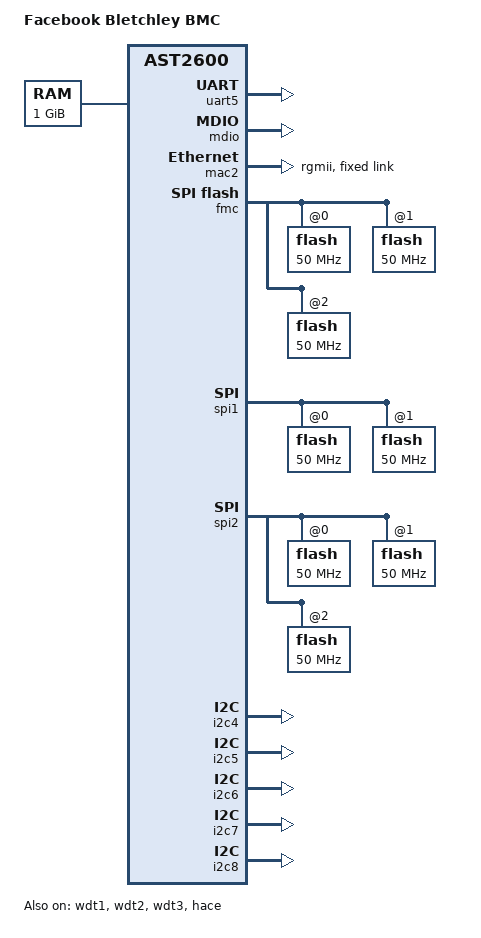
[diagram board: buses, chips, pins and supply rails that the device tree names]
// SPDX-License-Identifier: GPL-2.0+
// Copyright (c) 2022 Meta Platforms Inc.
/dts-v1/;

#include "ast2600-u-boot.dtsi"

/ {
	model = "Facebook Bletchley BMC";
	compatible = "facebook,bletchley-bmc", "aspeed,ast2600";

	memory {
		device_type = "memory";
		reg = <0x80000000 0x40000000>;
	};

	chosen {
		stdout-path = &uart5;
	};

	aliases {
		mmc0 = &emmc_slot0;
		mmc1 = &sdhci_slot0;
		mmc2 = &sdhci_slot1;
		spi0 = &fmc;
		spi1 = &spi1;
		spi2 = &spi2;
		ethernet0 = &mac0;
		ethernet1 = &mac1;
		ethernet2 = &mac2;
		ethernet3 = &mac3;
	};

	cpus {
		cpu@0 {
			clock-frequency = <800000000>;
		};
		cpu@1 {
			clock-frequency = <800000000>;
		};
	};
};

&uart5 {
	u-boot,dm-pre-reloc;
	status = "okay";
};

&sdrammc {
	clock-frequency = <400000000>;
};

&wdt1 {
	status = "okay";
};

&wdt2 {
	status = "okay";
};

&wdt3 {
	status = "okay";
};

&mdio {
	status = "okay";
	pinctrl-names = "default";
	pinctrl-0 = <&pinctrl_mdio4_default>;
	#address-cells = <1>;
	#size-cells = <0>;
};

&mac2 {
	status = "okay";
	phy-mode = "rgmii";
	pinctrl-names = "default";
	pinctrl-0 = <&pinctrl_rgmii3_default &pinctrl_mac3link_default>;
	fixed-link {
		speed = <1000>;
		full-duplex;
	};
};

&fmc {
	status = "okay";

	pinctrl-names = "default";
	pinctrl-0 = <&pinctrl_fmcquad_default>;

	flash@0 {
		status = "okay";
		spi-max-frequency = <50000000>;
		spi-tx-bus-width = <2>;
		spi-rx-bus-width = <2>;
	};

	flash@1 {
		status = "okay";
		spi-max-frequency = <50000000>;
		spi-tx-bus-width = <2>;
		spi-rx-bus-width = <2>;
	};

	flash@2 {
		status = "okay";
		spi-max-frequency = <50000000>;
		spi-tx-bus-width = <2>;
		spi-rx-bus-width = <2>;
	};
};

&spi1 {
	status = "okay";

	pinctrl-names = "default";
	pinctrl-0 = <&pinctrl_spi1_default &pinctrl_spi1abr_default
			&pinctrl_spi1cs1_default &pinctrl_spi1wp_default
			&pinctrl_spi1wp_default &pinctrl_spi1quad_default>;

	flash@0 {
		status = "okay";
		spi-max-frequency = <50000000>;
		spi-tx-bus-width = <4>;
		spi-rx-bus-width = <4>;
	};

	flash@1 {
		status = "okay";
		spi-max-frequency = <50000000>;
		spi-tx-bus-width = <4>;
		spi-rx-bus-width = <4>;
	};
};

&spi2 {
	status = "okay";

	pinctrl-names = "default";
	pinctrl-0 = <&pinctrl_spi2_default &pinctrl_spi2cs1_default
			&pinctrl_spi2cs2_default &pinctrl_spi2quad_default>;

	flash@0 {
		status = "okay";
		spi-max-frequency = <50000000>;
		spi-tx-bus-width = <4>;
		spi-rx-bus-width = <4>;
	};

	flash@1 {
		status = "okay";
		spi-max-frequency = <50000000>;
		spi-tx-bus-width = <4>;
		spi-rx-bus-width = <4>;
	};

	flash@2 {
		status = "okay";
		spi-max-frequency = <50000000>;
		spi-tx-bus-width = <4>;
		spi-rx-bus-width = <4>;
	};
};

&i2c4 {
	status = "okay";

	pinctrl-names = "default";
	pinctrl-0 = <&pinctrl_i2c5_default>;
};

&i2c5 {
	status = "okay";

	pinctrl-names = "default";
	pinctrl-0 = <&pinctrl_i2c6_default>;
};

&i2c6 {
	status = "okay";

	pinctrl-names = "default";
	pinctrl-0 = <&pinctrl_i2c7_default>;
};

&i2c7 {
	status = "okay";

	pinctrl-names = "default";
	pinctrl-0 = <&pinctrl_i2c8_default>;
};

&i2c8 {
	status = "okay";

	pinctrl-names = "default";
	pinctrl-0 = <&pinctrl_i2c9_default>;
};

&scu {
	mac0-clk-delay = <0x10 0x0a
			  0x10 0x10
			  0x10 0x10>;
	mac1-clk-delay = <0x10 0x0a
			  0x10 0x10
			  0x10 0x10>;
	mac2-clk-delay = <0x08 0x04
			  0x08 0x04
			  0x08 0x04>;
	mac3-clk-delay = <0x08 0x04
			  0x08 0x04
			  0x08 0x04>;
};

&hace {
	status = "okay";
};
